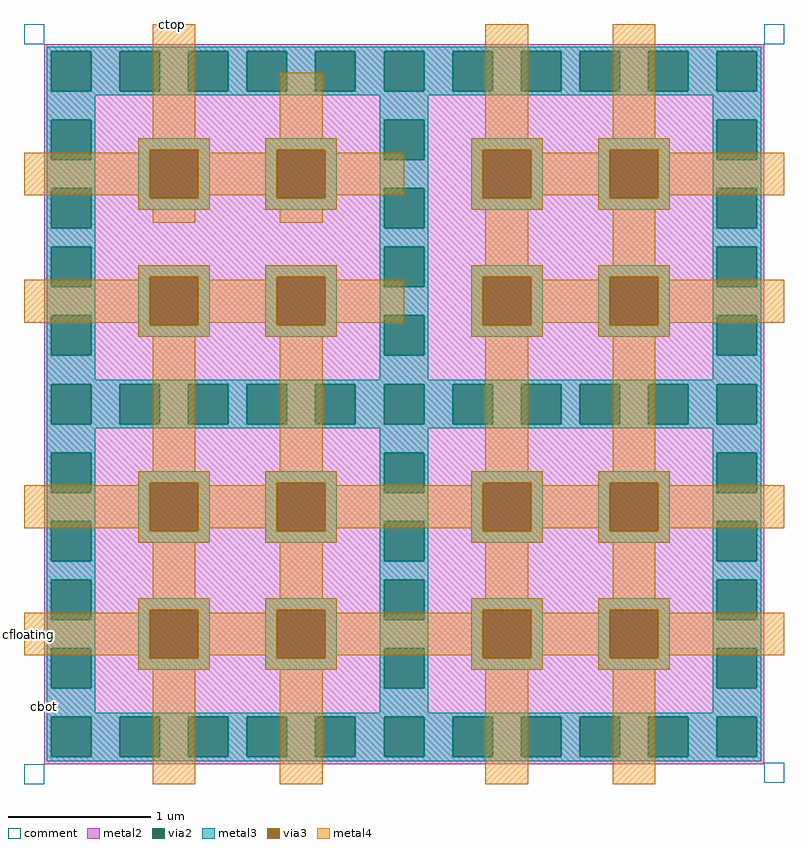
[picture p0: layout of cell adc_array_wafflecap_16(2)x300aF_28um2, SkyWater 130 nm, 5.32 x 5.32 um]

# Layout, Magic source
magic
tech sky130A
<< metal2 >>
rect 14 513 518 518
rect 14 485 19 513
rect 47 485 67 513
rect 95 485 115 513
rect 143 485 156 513
rect 184 485 204 513
rect 232 485 252 513
rect 280 485 300 513
rect 328 485 348 513
rect 376 485 389 513
rect 417 485 437 513
rect 465 485 485 513
rect 513 485 518 513
rect 14 465 518 485
rect 14 437 19 465
rect 47 437 252 465
rect 280 437 485 465
rect 513 437 518 465
rect 14 417 518 437
rect 14 389 19 417
rect 47 389 252 417
rect 280 389 485 417
rect 513 389 518 417
rect 14 376 518 389
rect 14 348 19 376
rect 47 348 252 376
rect 280 348 485 376
rect 513 348 518 376
rect 14 328 518 348
rect 14 300 19 328
rect 47 300 252 328
rect 280 300 485 328
rect 513 300 518 328
rect 14 280 518 300
rect 14 252 19 280
rect 47 252 67 280
rect 95 252 115 280
rect 143 252 156 280
rect 184 252 204 280
rect 232 252 252 280
rect 280 252 300 280
rect 328 252 348 280
rect 376 252 389 280
rect 417 252 437 280
rect 465 252 485 280
rect 513 252 518 280
rect 14 232 518 252
rect 14 204 19 232
rect 47 204 252 232
rect 280 204 485 232
rect 513 204 518 232
rect 14 184 518 204
rect 14 156 19 184
rect 47 156 252 184
rect 280 156 485 184
rect 513 156 518 184
rect 14 143 518 156
rect 14 115 19 143
rect 47 115 252 143
rect 280 115 485 143
rect 513 115 518 143
rect 14 95 518 115
rect 14 67 19 95
rect 47 67 252 95
rect 280 67 485 95
rect 513 67 518 95
rect 14 47 518 67
rect 14 19 19 47
rect 47 19 67 47
rect 95 19 115 47
rect 143 19 156 47
rect 184 19 204 47
rect 232 19 252 47
rect 280 19 300 47
rect 328 19 348 47
rect 376 19 389 47
rect 417 19 437 47
rect 465 19 485 47
rect 513 19 518 47
rect 14 14 518 19
<< via2 >>
rect 19 485 47 513
rect 67 485 95 513
rect 115 485 143 513
rect 156 485 184 513
rect 204 485 232 513
rect 252 485 280 513
rect 300 485 328 513
rect 348 485 376 513
rect 389 485 417 513
rect 437 485 465 513
rect 485 485 513 513
rect 19 437 47 465
rect 252 437 280 465
rect 485 437 513 465
rect 19 389 47 417
rect 252 389 280 417
rect 485 389 513 417
rect 19 348 47 376
rect 252 348 280 376
rect 485 348 513 376
rect 19 300 47 328
rect 252 300 280 328
rect 485 300 513 328
rect 19 252 47 280
rect 67 252 95 280
rect 115 252 143 280
rect 156 252 184 280
rect 204 252 232 280
rect 252 252 280 280
rect 300 252 328 280
rect 348 252 376 280
rect 389 252 417 280
rect 437 252 465 280
rect 485 252 513 280
rect 19 204 47 232
rect 252 204 280 232
rect 485 204 513 232
rect 19 156 47 184
rect 252 156 280 184
rect 485 156 513 184
rect 19 115 47 143
rect 252 115 280 143
rect 485 115 513 143
rect 19 67 47 95
rect 252 67 280 95
rect 485 67 513 95
rect 19 19 47 47
rect 67 19 95 47
rect 115 19 143 47
rect 156 19 184 47
rect 204 19 232 47
rect 252 19 280 47
rect 300 19 328 47
rect 348 19 376 47
rect 389 19 417 47
rect 437 19 465 47
rect 485 19 513 47
<< metal3 >>
rect 16 513 516 516
rect 16 485 19 513
rect 47 485 67 513
rect 95 485 115 513
rect 143 485 156 513
rect 184 485 204 513
rect 232 485 252 513
rect 280 485 300 513
rect 328 485 348 513
rect 376 485 389 513
rect 417 485 437 513
rect 465 485 485 513
rect 513 485 516 513
rect 16 482 516 485
rect 16 465 50 482
rect 16 437 19 465
rect 47 437 50 465
rect 249 465 283 482
rect 16 417 50 437
rect 16 389 19 417
rect 47 389 50 417
rect 80 444 130 452
rect 80 410 88 444
rect 122 410 130 444
rect 80 402 130 410
rect 169 444 219 452
rect 169 410 177 444
rect 211 410 219 444
rect 169 402 219 410
rect 249 437 252 465
rect 280 437 283 465
rect 482 465 516 482
rect 249 417 283 437
rect 16 376 50 389
rect 16 348 19 376
rect 47 348 50 376
rect 249 389 252 417
rect 280 389 283 417
rect 313 444 363 452
rect 313 410 321 444
rect 355 410 363 444
rect 313 402 363 410
rect 402 444 452 452
rect 402 410 410 444
rect 444 410 452 444
rect 402 402 452 410
rect 482 437 485 465
rect 513 437 516 465
rect 482 417 516 437
rect 249 376 283 389
rect 16 328 50 348
rect 16 300 19 328
rect 47 300 50 328
rect 80 355 130 363
rect 80 321 88 355
rect 122 321 130 355
rect 80 313 130 321
rect 169 355 219 363
rect 169 321 177 355
rect 211 321 219 355
rect 169 313 219 321
rect 249 348 252 376
rect 280 348 283 376
rect 482 389 485 417
rect 513 389 516 417
rect 482 376 516 389
rect 249 328 283 348
rect 16 283 50 300
rect 249 300 252 328
rect 280 300 283 328
rect 313 355 363 363
rect 313 321 321 355
rect 355 321 363 355
rect 313 313 363 321
rect 402 355 452 363
rect 402 321 410 355
rect 444 321 452 355
rect 402 313 452 321
rect 482 348 485 376
rect 513 348 516 376
rect 482 328 516 348
rect 249 283 283 300
rect 482 300 485 328
rect 513 300 516 328
rect 482 283 516 300
rect 16 280 516 283
rect 16 252 19 280
rect 47 252 67 280
rect 95 252 115 280
rect 143 252 156 280
rect 184 252 204 280
rect 232 252 252 280
rect 280 252 300 280
rect 328 252 348 280
rect 376 252 389 280
rect 417 252 437 280
rect 465 252 485 280
rect 513 252 516 280
rect 16 249 516 252
rect 16 232 50 249
rect 16 204 19 232
rect 47 204 50 232
rect 249 232 283 249
rect 16 184 50 204
rect 16 156 19 184
rect 47 156 50 184
rect 80 211 130 219
rect 80 177 88 211
rect 122 177 130 211
rect 80 169 130 177
rect 169 211 219 219
rect 169 177 177 211
rect 211 177 219 211
rect 169 169 219 177
rect 249 204 252 232
rect 280 204 283 232
rect 482 232 516 249
rect 249 184 283 204
rect 16 143 50 156
rect 16 115 19 143
rect 47 115 50 143
rect 249 156 252 184
rect 280 156 283 184
rect 313 211 363 219
rect 313 177 321 211
rect 355 177 363 211
rect 313 169 363 177
rect 402 211 452 219
rect 402 177 410 211
rect 444 177 452 211
rect 402 169 452 177
rect 482 204 485 232
rect 513 204 516 232
rect 482 184 516 204
rect 249 143 283 156
rect 16 95 50 115
rect 16 67 19 95
rect 47 67 50 95
rect 80 122 130 130
rect 80 88 88 122
rect 122 88 130 122
rect 80 80 130 88
rect 169 122 219 130
rect 169 88 177 122
rect 211 88 219 122
rect 169 80 219 88
rect 249 115 252 143
rect 280 115 283 143
rect 482 156 485 184
rect 513 156 516 184
rect 482 143 516 156
rect 249 95 283 115
rect 16 50 50 67
rect 249 67 252 95
rect 280 67 283 95
rect 313 122 363 130
rect 313 88 321 122
rect 355 88 363 122
rect 313 80 363 88
rect 402 122 452 130
rect 402 88 410 122
rect 444 88 452 122
rect 402 80 452 88
rect 482 115 485 143
rect 513 115 516 143
rect 482 95 516 115
rect 249 50 283 67
rect 482 67 485 95
rect 513 67 516 95
rect 482 50 516 67
rect 16 47 516 50
rect 16 19 19 47
rect 47 19 67 47
rect 95 19 115 47
rect 143 19 156 47
rect 184 19 204 47
rect 232 19 252 47
rect 280 19 300 47
rect 328 19 348 47
rect 376 19 389 47
rect 417 19 437 47
rect 465 19 485 47
rect 513 19 516 47
rect 16 16 516 19
<< via3 >>
rect 88 410 122 444
rect 177 410 211 444
rect 321 410 355 444
rect 410 410 444 444
rect 88 321 122 355
rect 177 321 211 355
rect 321 321 355 355
rect 410 321 444 355
rect 88 177 122 211
rect 177 177 211 211
rect 321 177 355 211
rect 410 177 444 211
rect 88 88 122 122
rect 177 88 211 122
rect 321 88 355 122
rect 410 88 444 122
<< metal4 >>
rect 90 452 120 532
rect 179 452 209 498
rect 323 452 353 532
rect 412 452 442 532
rect 80 444 130 452
rect 80 442 88 444
rect 0 412 88 442
rect 80 410 88 412
rect 122 442 130 444
rect 169 444 219 452
rect 169 442 177 444
rect 122 412 177 442
rect 122 410 130 412
rect 80 402 130 410
rect 169 410 177 412
rect 211 442 219 444
rect 313 444 363 452
rect 211 412 266 442
rect 211 410 219 412
rect 169 402 219 410
rect 313 410 321 444
rect 355 442 363 444
rect 402 444 452 452
rect 402 442 410 444
rect 355 412 410 442
rect 355 410 363 412
rect 313 402 363 410
rect 402 410 410 412
rect 444 442 452 444
rect 444 412 532 442
rect 444 410 452 412
rect 402 402 452 410
rect 90 393 120 402
rect 179 393 209 402
rect 323 363 353 402
rect 412 363 442 402
rect 80 355 130 363
rect 80 353 88 355
rect 0 323 88 353
rect 80 321 88 323
rect 122 353 130 355
rect 169 355 219 363
rect 169 353 177 355
rect 122 323 177 353
rect 122 321 130 323
rect 80 313 130 321
rect 169 321 177 323
rect 211 353 219 355
rect 313 355 363 363
rect 211 323 266 353
rect 211 321 219 323
rect 169 313 219 321
rect 313 321 321 355
rect 355 353 363 355
rect 402 355 452 363
rect 402 353 410 355
rect 355 323 410 353
rect 355 321 363 323
rect 313 313 363 321
rect 402 321 410 323
rect 444 353 452 355
rect 444 323 532 353
rect 444 321 452 323
rect 402 313 452 321
rect 90 219 120 313
rect 179 219 209 313
rect 323 219 353 313
rect 412 219 442 313
rect 80 211 130 219
rect 80 209 88 211
rect 0 179 88 209
rect 80 177 88 179
rect 122 209 130 211
rect 169 211 219 219
rect 169 209 177 211
rect 122 179 177 209
rect 122 177 130 179
rect 80 169 130 177
rect 169 177 177 179
rect 211 209 219 211
rect 313 211 363 219
rect 313 209 321 211
rect 211 179 321 209
rect 211 177 219 179
rect 169 169 219 177
rect 313 177 321 179
rect 355 209 363 211
rect 402 211 452 219
rect 402 209 410 211
rect 355 179 410 209
rect 355 177 363 179
rect 313 169 363 177
rect 402 177 410 179
rect 444 209 452 211
rect 444 179 532 209
rect 444 177 452 179
rect 402 169 452 177
rect 90 130 120 169
rect 179 130 209 169
rect 323 130 353 169
rect 412 130 442 169
rect 80 122 130 130
rect 80 120 88 122
rect 0 90 88 120
rect 80 88 88 90
rect 122 120 130 122
rect 169 122 219 130
rect 169 120 177 122
rect 122 90 177 120
rect 122 88 130 90
rect 80 80 130 88
rect 169 88 177 90
rect 211 120 219 122
rect 313 122 363 130
rect 313 120 321 122
rect 211 90 321 120
rect 211 88 219 90
rect 169 80 219 88
rect 313 88 321 90
rect 355 120 363 122
rect 402 122 452 130
rect 402 120 410 122
rect 355 90 410 120
rect 355 88 363 90
rect 313 80 363 88
rect 402 88 410 90
rect 444 120 452 122
rect 444 90 532 120
rect 444 88 452 90
rect 402 80 452 88
rect 90 0 120 80
rect 179 0 209 80
rect 323 0 353 80
rect 412 0 442 80
<< comment >>
rect 0 518 14 532
rect 518 518 532 532
rect 0 0 14 14
rect 518 1 532 15
<< labels >>
rlabel metal2 14 54 14 54 7 cbot
port 2 w
rlabel metal4 0 104 0 105 3 cfloating
rlabel metal4 104 532 104 532 5 ctop
port 3 s
<< end >>
